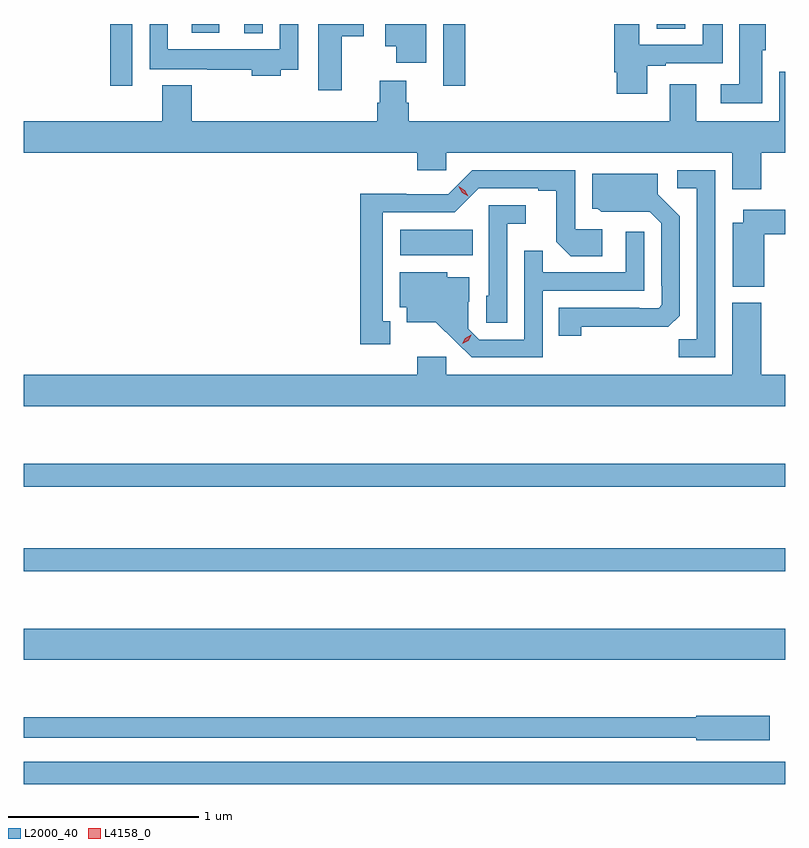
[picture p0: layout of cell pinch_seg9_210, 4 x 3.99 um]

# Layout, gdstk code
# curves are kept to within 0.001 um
import gdstk
lib = gdstk.Library(unit=1e-6, precision=1e-09)
def R(c, l, rs):  # rectangles x0, y0, x1, y1
    for r in rs: c.add(gdstk.rectangle(r[:2], r[2:], *l))
def P(c, l, *ps):  # polygons
    for p in ps: c.add(gdstk.Polygon(p, *l))
L2000_40 = (2000, 40)
L4158_0 = (4158, 0)

pinch_seg9_210 = lib.new_cell('pinch_seg9_210')
R(pinch_seg9_210, L2000_40, [(591.386,1242.388,595.386,1242.504), (591.386,1243.04,595.386,1243.204), (591.386,1243.506,595.386,1243.627), (591.386,1243.95,595.386,1244.071), (593.364,1245.164,593.744,1245.298), (591.841,1246.056,591.957,1246.379), (593.589,1246.056,593.705,1246.379), (592.544,1246.331,592.641,1246.379), (592.268,1246.332,592.414,1246.379), (594.71,1246.354,594.859,1246.379)])
P(pinch_seg9_210, L2000_40, [(594.661,1246.161),(594.757,1246.161),(594.757,1246.173),(595.057,1246.173),(595.057,1246.379),(594.953,1246.379),(594.953,1246.269),(594.619,1246.269),(594.619,1246.379),(594.488,1246.379),(594.488,1246.126),(594.5,1246.126),(594.5,1246.014),(594.661,1246.014)],
  [(593.5,1246.379),(593.285,1246.379),(593.285,1246.262),(593.342,1246.262),(593.342,1246.176),(593.5,1246.176)],
  [(593.056,1246.315),(593.173,1246.315),(593.173,1246.379),(592.934,1246.379),(592.934,1246.032),(593.056,1246.032)],
  [(592.735,1246.14),(592.827,1246.14),(592.827,1246.379),(592.731,1246.379),(592.731,1246.246),(592.143,1246.246),(592.143,1246.379),(592.047,1246.379),(592.047,1246.142),(592.351,1246.142),(592.351,1246.14),(592.583,1246.14),(592.583,1246.106),(592.735,1246.106)],
  [(595.264,1246.242),(595.282,1246.242),(595.282,1246.379),(595.145,1246.379),(595.145,1246.063),(595.047,1246.063),(595.047,1245.962),(595.264,1245.962)],
  [(595.259,1245.704),(595.386,1245.704),(595.386,1246.129),(595.353,1246.129),(595.353,1245.868),(594.919,1245.868),(594.919,1246.063),(594.779,1246.063),(594.779,1245.868),(593.408,1245.868),(593.408,1245.966),(593.395,1245.966),(593.395,1246.081),(593.255,1246.081),(593.255,1245.966),(593.243,1245.966),(593.243,1245.868),(592.268,1245.868),(592.268,1246.057),(592.115,1246.057),(592.115,1245.868),(591.386,1245.868),(591.386,1245.704),(593.453,1245.704),(593.453,1245.611),(593.604,1245.611),(593.604,1245.704),(595.106,1245.704),(595.106,1245.51),(595.259,1245.51)],
  [(593.311,1244.817),(593.272,1244.817),(593.272,1245.39),(593.649,1245.39),(593.775,1245.516),(594.089,1245.516),(594.089,1245.504),(594.183,1245.504),(594.183,1245.236),(594.259,1245.16),(594.424,1245.16),(594.424,1245.3),(594.282,1245.3),(594.282,1245.612),(593.742,1245.612),(593.616,1245.486),(593.394,1245.486),(593.394,1245.488),(593.154,1245.488),(593.154,1244.697),(593.311,1244.697)],
  [(595.017,1245.612),(594.819,1245.612),(594.819,1245.516),(594.921,1245.516),(594.921,1244.723),(594.826,1244.723),(594.826,1244.628),(595.017,1244.628)],
  [(594.315,1244.788),(594.772,1244.789),(594.831,1244.848),(594.831,1245.37),(594.715,1245.486),(594.715,1245.592),(594.371,1245.592),(594.371,1245.408),(594.402,1245.408),(594.418,1245.392),(594.675,1245.393),(594.735,1245.333),(594.735,1245.004),(594.738,1245.004),(594.738,1244.904),(594.72,1244.886),(594.62,1244.886),(594.62,1244.889),(594.196,1244.889),(594.196,1244.742),(594.315,1244.742)],
  [(593.925,1245.329),(594.022,1245.329),(594.022,1245.426),(593.829,1245.426),(593.829,1244.952),(593.814,1244.952),(593.814,1244.809),(593.925,1244.809)],
  [(595.276,1245.274),(595.386,1245.274),(595.386,1245.403),(595.166,1245.403),(595.166,1245.334),(595.109,1245.334),(595.109,1244.999),(595.276,1244.999)],
  [(594.111,1244.979),(594.645,1244.979),(594.645,1245.289),(594.549,1245.289),(594.549,1245.075),(594.113,1245.075),(594.113,1245.188),(594.015,1245.188),(594.015,1244.721),(593.778,1244.721),(593.721,1244.778),(593.721,1244.92),(593.725,1244.92),(593.725,1245.049),(593.61,1245.049),(593.61,1245.076),(593.36,1245.076),(593.36,1244.892),(593.399,1244.892),(593.399,1244.813),(593.551,1244.813),(593.738,1244.628),(594.111,1244.628)],
  [(595.386,1244.536),(595.259,1244.536),(595.259,1244.914),(595.106,1244.914),(595.106,1244.536),(593.604,1244.536),(593.604,1244.632),(593.453,1244.632),(593.453,1244.536),(591.386,1244.536),(591.386,1244.372),(595.386,1244.372)],
  [(595.303,1242.747),(594.918,1242.747),(594.918,1242.739),(591.386,1242.739),(591.386,1242.63),(594.918,1242.63),(594.918,1242.617),(595.303,1242.617)])
P(pinch_seg9_210, L4158_0, [(593.689,1244.7),(593.689,1244.7),(593.706,1244.73),(593.737,1244.746),(593.737,1244.746),(593.737,1244.745),(593.72,1244.716),(593.689,1244.7)],
  [(593.72,1245.475),(593.688,1245.493),(593.67,1245.525),(593.67,1245.526),(593.67,1245.526),(593.702,1245.507),(593.72,1245.475),(593.72,1245.475)])

lib.write_gds('pinch_seg9_210.gds')
